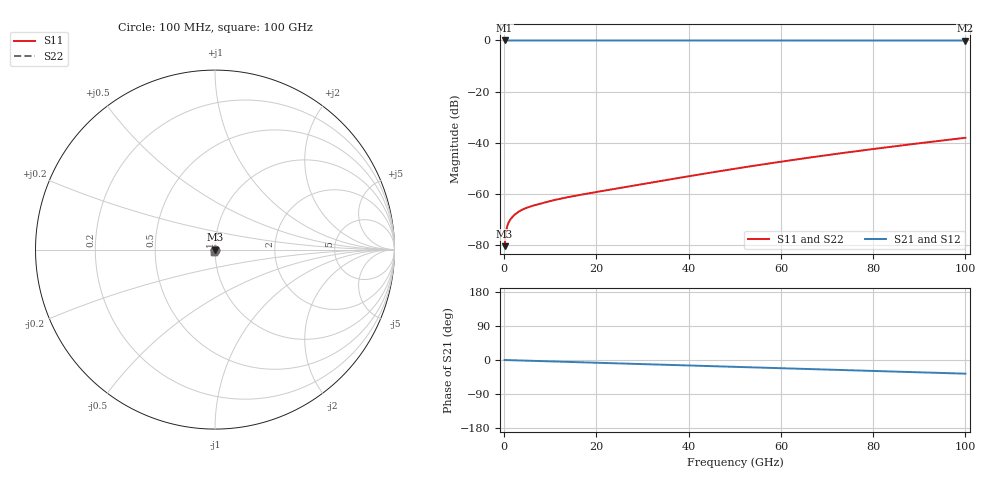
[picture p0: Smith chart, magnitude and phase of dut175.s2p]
! Touchstone file exported from HFSS 2026.1.0
!  File:  C:/ffzhzh/LocalFiles/Ansys_Project_Files/temp_train_TSV_175_1783507019_31944.aedt
!  Generated:  06:38:18 PM Jul  8, 2026
!  Design:  TSV
!  Project:  temp_train_TSV_175_1783507019_31944
! Variables:
!  h_bsmrdl = 2um
!  h_ox = 20um
!  h_rdl = 5um
!  h_sub = 70.18um
!  h_tmrdl = 5um
!  h_tsv = 70.18um
!  h_via = 3um
!  l_bsmrdl = 300um
!  l_sub = 424.08um
!  l_tmrdl = 200um
!  m_sub = 200um
!  pitch = 47.94um
!  r_tsv = 12.04um
!  s_tmrdl = 10um
!  w_bsmrdl = 18um
!  w_sub = 500um
!  w_tmrdl = 12um
!  x_tsv_center1 = 206um
!  x_tsv_center2 = 524um
!  x_tsv_center3 = 736um
!  x_tsv_center4 = 1054um
!  x_tsv_center5 = 1266um
!  x_tsv_center6 = 1584um
# GHz S MA R 50.000000
! Terminal data exported
! Port[1] = TSV1_1_T1
! Port[2] = TSV1_1_T2
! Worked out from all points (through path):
!   1000 points, 100 MHz to 100 GHz, reference 50 ohm
!   highest |S21| = 0.00 dB at 100 MHz (marker M1); lowest = 0.0 dB at 100 GHz (marker M2)
!   group delay of S21, straight-line fit = 1 ps
!   lowest |S11| = -80.4 dB at 100 MHz (marker M3), VSWR 1.00, Z = 50 + j0.00355 ohm
!   |S11| at or under -10 dB: start of sweep to end of sweep
!   |S22| runs from -80.4 to -38.1 dB; largest |S21 - S12| = 8.3e-15
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0.1  9.497e-05 21.9  0.9999 -0.0  0.9999 -0.0  9.497e-05 21.9
! Gamma 0 0 0 0
! Port Impedance 50 0 50 0
0.4  0.0001772 39.3  0.9999 -0.2  0.9999 -0.2  0.0001772 39.3
0.7  0.0002386 37.2  0.9998 -0.3  0.9998 -0.3  0.0002386 37.2
0.8  0.0002536 36.3  0.9998 -0.3  0.9998 -0.3  0.0002537 36.3
1  0.000279 34.8  0.9998 -0.4  0.9998 -0.4  0.000279 34.8
1.2  0.0003004 33.6  0.9998 -0.4  0.9998 -0.4  0.0003004 33.6
1.6  0.0003372 31.9  0.9997 -0.6  0.9997 -0.6  0.0003373 31.9
2.1  0.0003776 30.1  0.9997 -0.8  0.9997 -0.8  0.0003776 30.1
2.7  0.0004203 27.7  0.9996 -1.0  0.9996 -1.0  0.0004203 27.7
3.4  0.0004631 24.8  0.9996 -1.2  0.9996 -1.2  0.0004632 24.8
4.2  0.0005042 21.6  0.9995 -1.5  0.9995 -1.5  0.0005043 21.6
5.1  0.0005432 18.1  0.9995 -1.9  0.9995 -1.9  0.0005433 18.1
6.2  0.0005848 14.1  0.9994 -2.2  0.9994 -2.2  0.0005848 14.1
7.8  0.0006411 8.8  0.9994 -2.8  0.9994 -2.8  0.0006412 8.8
11.8  0.00079 -3.9  0.9992 -4.3  0.9992 -4.3  0.0007902 -3.9
16.8  0.0009678 -18.0  0.9991 -6.1  0.9991 -6.1  0.0009682 -18.0
33.4  0.001753 -53.6  0.9987 -12.0  0.9987 -12.0  0.001754 -53.6
50.1  0.00311 -77.3  0.9983 -18.0  0.9983 -18.0  0.003112 -77.3
58.4  0.004053 -86.3  0.9982 -21.0  0.9982 -21.0  0.004055 -86.2
66.7  0.005202 -94.0  0.9981 -24.0  0.9981 -24.0  0.005204 -93.9
83.4  0.008246 -106.7  0.9977 -30.0  0.9977 -30.0  0.008248 -106.6
100  0.0125 -117.3  0.9973 -36.1  0.9973 -36.1  0.0125 -117.3
